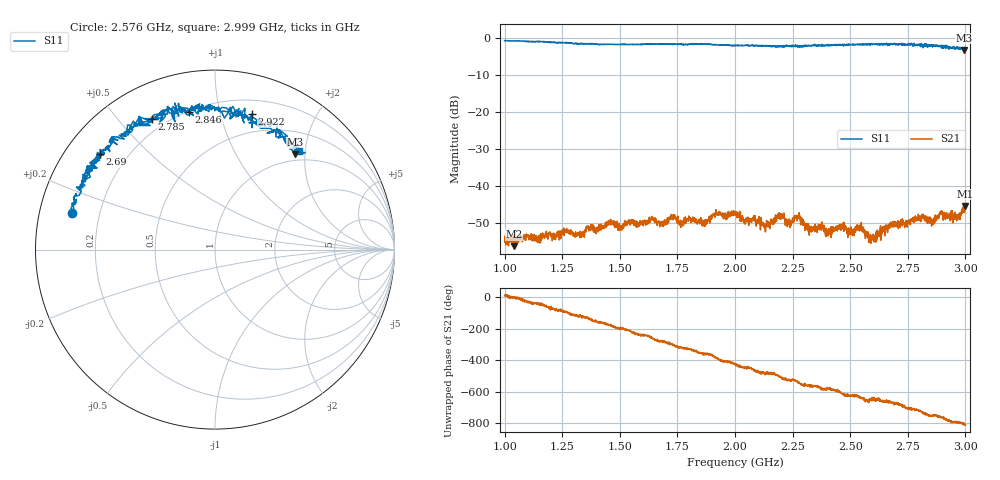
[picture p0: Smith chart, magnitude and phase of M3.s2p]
# HZ S RI R 50
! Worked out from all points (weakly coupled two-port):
!   2020 points, 1 GHz to 3 GHz, reference 50 ohm
!   highest |S21| = -45.45 dB at 2.999 GHz (marker M1); lowest = -56.3 dB at 1.041 GHz (marker M2)
!   lowest |S11| = -3.2 dB at 2.994 GHz (marker M3), VSWR 5.52, Z = 44.2 + j90.2 ohm
!   |S11| at or under -10 dB: nowhere
!   S12 and S22 are empty: the file has one direction only
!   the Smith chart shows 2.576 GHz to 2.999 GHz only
!   S11 on the Smith chart (normalised r, x): 2.576 GHz: 0.10, +0.12; 2.69 GHz: 0.10, +0.36; 2.785 GHz: 0.15, +0.62; 2.846 GHz: 0.21, +0.81; 2.922 GHz: 0.32, +1.26; 2.999 GHz: 0.82, +1.88
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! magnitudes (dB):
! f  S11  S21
! 1 GHz  -0.7  -54.8
! 1.041 GHz  -0.7  -56.3
! 1.334 GHz  -1.4  -53.9
! 1.46 GHz  -1.6  -49.1
! 1.668 GHz  -1.6  -49.6
! 2 GHz  -2.1  -47.7
! 2.132 GHz  -2.0  -52.5
! 2.185 GHz  -2.3  -48.3
! 2.234 GHz  -2.1  -49.6
! 2.269 GHz  -2.1  -49.5
! 2.334 GHz  -2.0  -51.7
! 2.539 GHz  -1.6  -51.2
! 2.576 GHz  -1.7  -54.0
! 2.607 GHz  -1.7  -55.1
! 2.667 GHz  -1.5  -51.2
! 2.69 GHz  -1.6  -51.1
! 2.785 GHz  -1.8  -48.7
! 2.846 GHz  -2.2  -48.5
! 2.922 GHz  -2.1  -48.6
! 2.994 GHz  -3.2  -47.1
! 2.999 GHz  -2.8  -45.4
! 3 GHz  -2.9  -46.2
